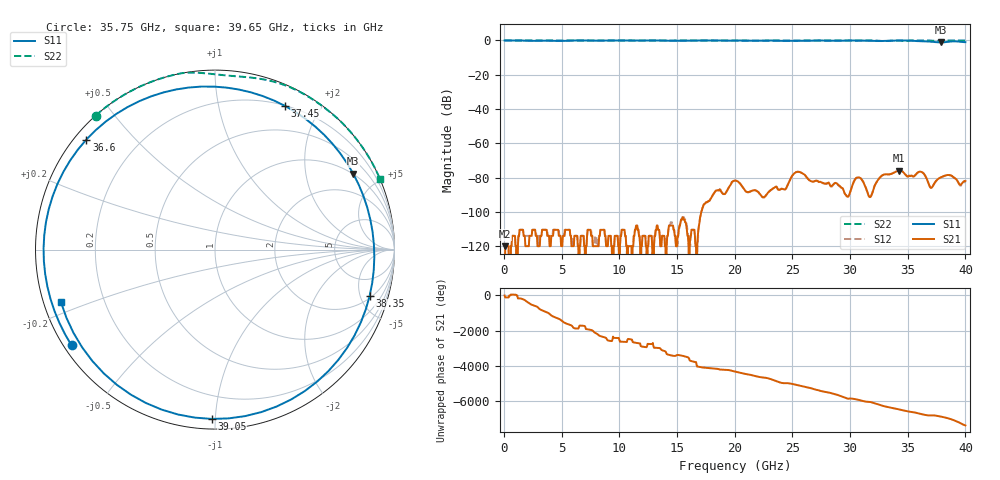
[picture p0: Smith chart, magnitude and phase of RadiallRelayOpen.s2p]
! C:\Work\SPARQ2\Technical\Relays\RadiallRelayOpen.s2p
! Tue Aug  7 09:56:52 2018
!!Measured using LeCroy SPARQ LCRY2401N02001
!SingleEnded
! freq S11 S21 S12 S22
# MHz S MA R 50.00
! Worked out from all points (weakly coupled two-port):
!   800 points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, 50 MHz to 40 GHz, reference 50 ohm
!   highest |S21| = -75.97 dB at 34.25 GHz (marker M1); lowest = -120.0 dB at 100 MHz (marker M2)
!   lowest |S11| = -1.1 dB at 37.85 GHz (marker M3), VSWR 15.49, Z = 49 + j182 ohm
!   |S11| at or under -10 dB: nowhere
!   |S22| runs from -0.3 to 0.0 dB; largest |S21 - S12| = 7.6e-06
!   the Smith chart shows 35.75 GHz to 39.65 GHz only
!   S11 on the Smith chart (normalised r, x): 35.75 GHz: 0.02, -0.30; 36.6 GHz: 0.03, +0.37; 37.45 GHz: 0.20, +1.58; 38.35 GHz: 2.19, -5.98; 39.05 GHz: 0.06, -0.98; 39.65 GHz: 0.05, -0.17
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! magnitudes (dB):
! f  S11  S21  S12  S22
! 50 MHz  0.0  -  -  0.0
! 100 MHz  0.0  -120.0  -120.0  0.0
! 6.75 GHz  0.0  -114.0  -114.0  0.0
! 13.4 GHz  0.0  -110.5  -110.5  0.0
! 20.05 GHz  -0.1  -81.7  -81.7  -0.1
! 24.7 GHz  -0.2  -82.7  -82.7  -0.1
! 25.5 GHz  -0.3  -76.6  -76.6  -0.1
! 26.35 GHz  -0.2  -80.7  -80.8  0.0
! 26.7 GHz  -0.1  -82.3  -82.4  0.0
! 32.35 GHz  -0.3  -82.2  -82.2  -0.1
! 33.35 GHz  -0.2  -78.1  -78.1  -0.3
! 34.25 GHz  -0.1  -76.0  -75.8  -0.1
! 35.05 GHz  0.0  -79.3  -79.1  -0.2
! 35.75 GHz  -0.3  -77.8  -77.9  0.0
! 36.15 GHz  -0.4  -76.6  -76.7  0.0
! 36.6 GHz  -0.5  -80.0  -80.1  0.0
! 37.45 GHz  -1.0  -81.9  -82.2  -0.2
! 37.85 GHz  -1.1  -79.9  -80.1  -0.1
! 38.35 GHz  -0.9  -78.6  -78.7  0.0
! 39.05 GHz  -0.5  -80.2  -80.3  0.0
! 39.65 GHz  -0.8  -83.9  -84.4  0.0
! 40 GHz  -1.0  -82.0  -82.7  0.0
